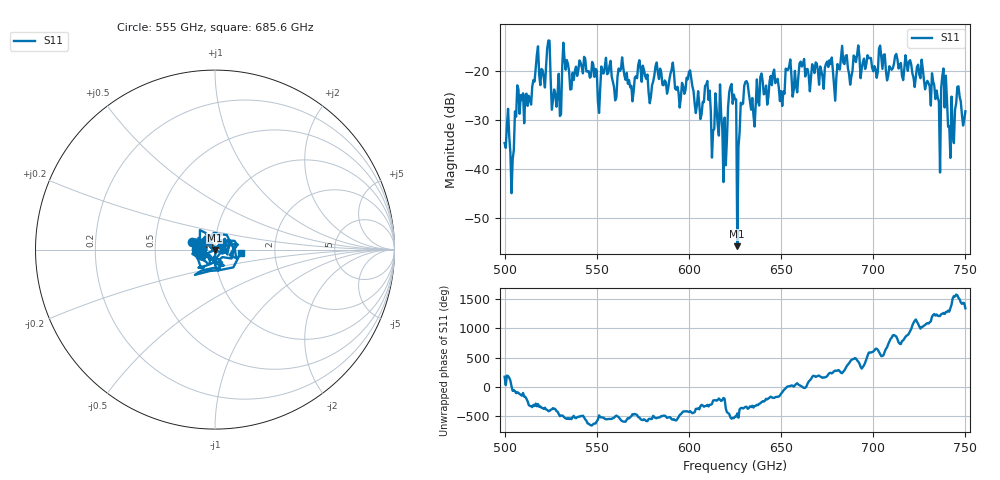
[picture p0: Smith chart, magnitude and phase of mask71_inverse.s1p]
!Created with skrf (http://scikit-rf.org).
# GHz S MA R 50.0
!freq magS11 angS11
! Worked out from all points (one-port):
!   401 points, 500 GHz to 750 GHz, reference 50 ohm
!   lowest |S11| = -55.7 dB at 626.2 GHz (marker M1), VSWR 1.00, Z = 50 - j0.162 ohm
!   |S11| at or under -10 dB: start of sweep to end of sweep
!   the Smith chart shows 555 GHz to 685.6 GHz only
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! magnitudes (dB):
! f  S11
! 500 GHz  -34.7
! 503.8 GHz  -44.9
! 506.9 GHz  -22.9
! 513.8 GHz  -25.8
! 516.9 GHz  -19.4
! 523.8 GHz  -13.8
! 526.9 GHz  -23.8
! 531.2 GHz  -19.3
! 533.1 GHz  -19.8
! 562.5 GHz  -20.0
! 593.8 GHz  -23.2
! 610 GHz  -22.1
! 619.4 GHz  -29.5
! 623.1 GHz  -22.7
! 624.4 GHz  -24.8
! 625 GHz  -25.8
! 626.2 GHz  -55.7
! 631.2 GHz  -22.1
! 635 GHz  -29.0
! 656.2 GHz  -25.3
! 687.5 GHz  -22.8
! 718.8 GHz  -20.0
! 733.1 GHz  -23.0
! 735 GHz  -25.4
! 738.1 GHz  -19.5
! 742.5 GHz  -25.2
! 746.2 GHz  -23.1
! 750 GHz  -28.2
